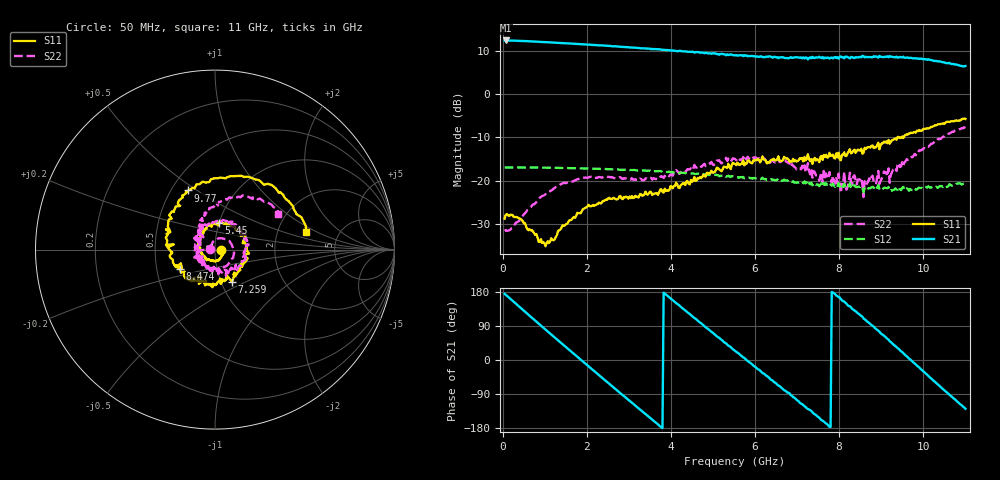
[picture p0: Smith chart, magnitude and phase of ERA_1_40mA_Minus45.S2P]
! Mini-Circuits
! S2P DATA File Format
! Type: MMIC Amplifier
! Model: ERA-1  Reference Data:RDF-960
! Note: All S Parameters are in dB deg format
! TEST CONDITIONS: INPUT POWER = -15dBm, Icc = 40mA, Vd = 3.60V @Temperature = -45degC
# MHz S DB R 50
!  FREQ  dB(S11)  PHS(S11)  dB(S21)  PHS(S21)  dB(S12)  PHS(S12)  dB(S22)  PHS(S22)
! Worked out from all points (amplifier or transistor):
!   401 points, 50 MHz to 11 GHz, reference 50 ohm
!   highest |S21| = 12.4 dB at 77 MHz (marker M1)
!   |S21| within 3 dB of that: start of sweep to 4.898 GHz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
!   unconditionally stable (mu >= 1): start of sweep to end of sweep
!   at 1.832 GHz: K = 1.20, MAG = 11.7 dB, |S12| = -17.2 dB
!   at 5.45 GHz: K = 1.65, MAG = 9.3 dB, |S12| = -19.0 dB
!   at 11 GHz: K = 1.61, MAG = 8.8 dB, |S12| = -20.2 dB
!   S11 on the Smith chart (normalised r, x): 50 MHz: 1.08, -0.01; 5.45 GHz: 0.99, +0.31; 7.259 GHz: 1.13, -0.42; 8.474 GHz: 0.66, -0.15; 9.77 GHz: 0.61, +0.46; 11 GHz: 2.90, +0.79
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50  -28.79 -5.1  12.40 174.6  -16.95 -4.3  -31.61 169.1
77  -27.91 -4.6  12.42 172.1  -16.96 -6.1  -31.42 165.3
536  -29.86 -30.0  12.28 127.3  -16.96 -40.4  -27.53 109.3
941  -34.40 -25.7  12.07 88.1  -16.99 -71.2  -23.56 71.8
1454  -30.40 -0.7  11.79 39.2  -17.07 -109.9  -20.55 28.9
1886  -27.08 -25.5  11.53 -1.7  -17.17 -142.8  -19.47 -8.0
2372  -24.86 -60.6  11.28 -47.4  -17.27 -179.8  -19.27 -46.6
2777  -23.64 -88.8  10.97 -85.2  -17.48 149.1  -19.20 -82.9
3182  -23.75 -117.7  10.71 -122.8  -17.62 118.4  -19.83 -120.9
3722  -22.86 -150.7  10.41 -172.6  -17.78 77.6  -19.66 -171.7
4640  -19.39 145.1  9.74 103.8  -18.39 7.8  -16.84 108.4
5450  -16.34 82.2  9.14 30.8  -18.96 -53.6  -15.23 53.1
5531  -16.16 73.4  8.99 23.8  -19.06 -60.7  -15.01 45.7
6503  -15.27 -1.3  8.53 -61.7  -19.89 -133.8  -15.47 -17.9
7259  -13.90 -62.0  8.03 -129.2  -19.89 169.1  -15.95 -67.8
7367  -16.14 -65.6  8.63 -137.9  -21.09 162.0  -19.32 -78.4
7907  -14.89 -106.9  8.57 173.7  -21.40 120.2  -20.68 -129.5
8474  -13.00 -150.7  8.57 121.3  -21.39 79.6  -19.75 -178.1
9203  -11.46 158.6  8.81 49.4  -22.38 24.2  -20.48 132.8
9770  -8.84 114.3  8.26 -7.0  -22.23 -9.2  -14.24 111.2
10373  -6.95 62.3  7.61 -66.7  -21.40 -50.3  -10.36 72.1
11003  -5.74 11.1  6.52 -128.6  -20.22 -94.2  -7.84 29.6
